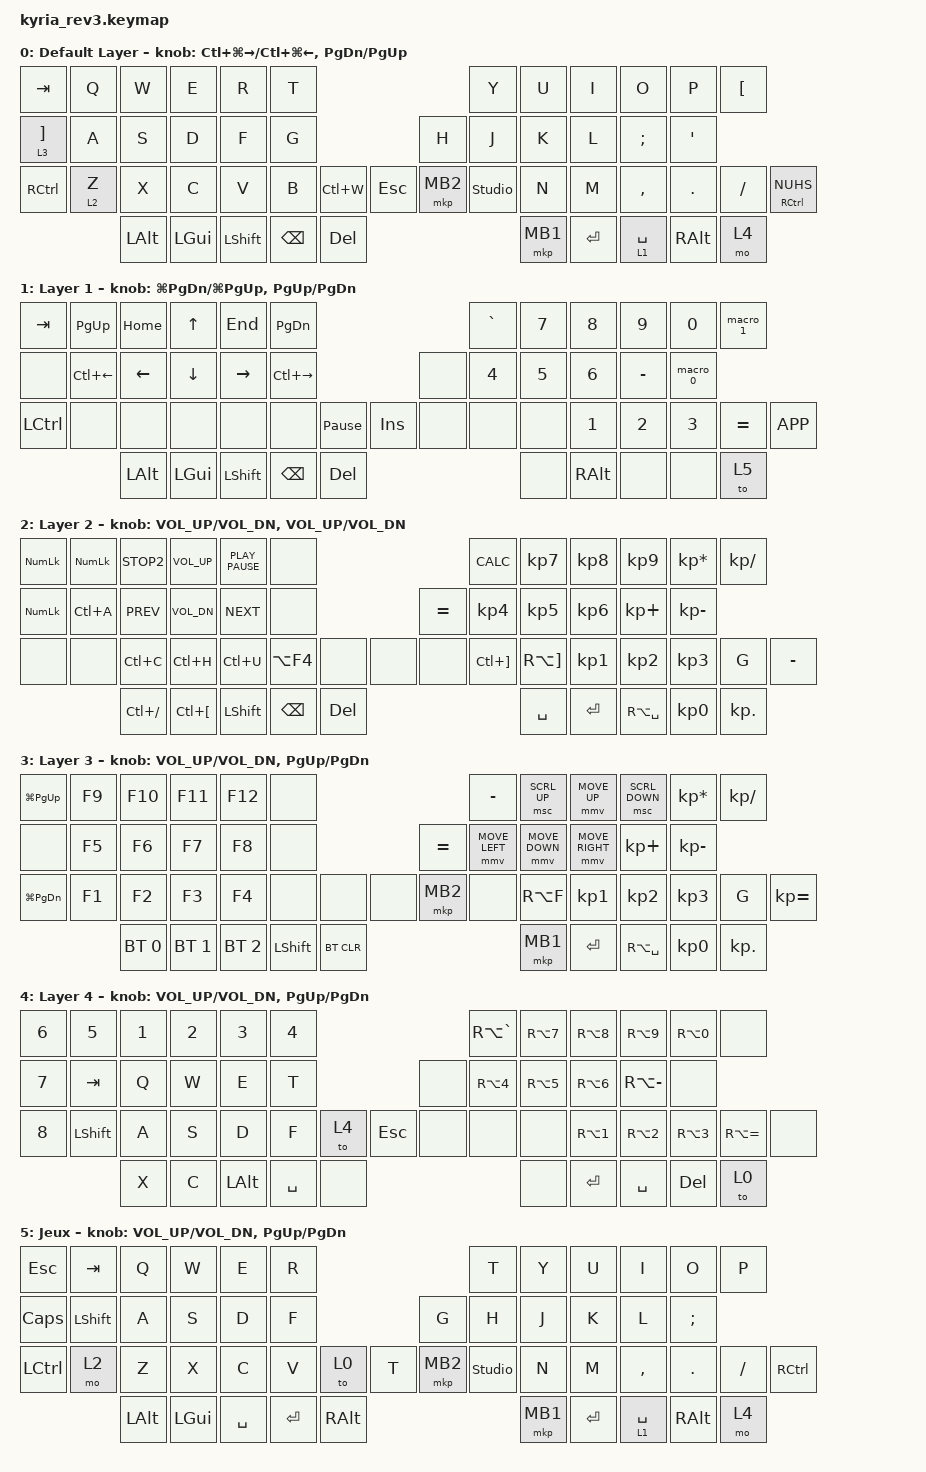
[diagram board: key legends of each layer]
/*
 * Copyright (c) 2020 The ZMK Contributors
 *
 * SPDX-License-Identifier: MIT
 */


#include <behaviors.dtsi>
#include <dt-bindings/zmk/bt.h>
#include <dt-bindings/zmk/keys.h>

#define ZMK_POINTING_DEFAULT_MOVE_VAL 1500  // default: 600
#define ZMK_POINTING_DEFAULT_SCRL_VAL 100
#include <dt-bindings/zmk/pointing.h>

/ {

    behaviors {

        macro_0: macro_0 {
            compatible = "zmk,behavior-macro";
            #binding-cells = <0>;
            bindings = <
                &kp SPACE
                &kp N2
                &kp N8
                &kp SPACE
            >;
        };

        macro_1: macro_1 {
            compatible = "zmk,behavior-macro";
            #binding-cells = <0>;
            bindings = <
                &kp SPACE
                &kp EQUAL
                &kp N3
                &kp EQUAL
                &kp SPACE
            >;
        };

        rot_kp: sensor_rotate_kp {
            compatible = "zmk,behavior-sensor-rotate-var";
            #sensor-binding-cells = <2>;
            bindings = <&kp>, <&kp>;
        };


        scroll_up: scroll_up {
            compatible = "zmk,behavior-macro";
            #binding-cells = <0>;
            bindings = <&macro_press &msc SCRL_UP>, <&macro_wait_time 100>, <&macro_release &msc SCRL_UP>;
        };

        scroll_down: scroll_down {
            compatible = "zmk,behavior-macro";
            #binding-cells = <0>;
            bindings = <&macro_press &msc SCRL_DOWN>, <&macro_wait_time 100>, <&macro_release &msc SCRL_DOWN>;
        };

        enc_scroll: enc_scroll {
            compatible = "zmk,behavior-sensor-rotate";
            #sensor-binding-cells = <0>;
            bindings = <&scroll_down>, <&scroll_up>;
        };

    };

    keymap {
        compatible = "zmk,keymap";

        default_layer {
            display-name = "Default Layer";

            bindings = <
                &kp TAB  &kp Q  &kp W  &kp E  &kp R  &kp T                                  &kp Y  &kp U  &kp I  &kp O  &kp P  &kp LBKT
                &lt 3 RBKT  &kp A  &kp S  &kp D  &kp F  &kp G                               &kp H  &kp J  &kp K  &kp L  &kp SEMI  &kp SQT
                &kp RCTRL  &lt 2 Z  &kp X  &kp C  &kp V  &kp B  &kp LC(W)  &kp ESC       &mkp MB2  &studio_unlock  &kp N  &kp M  &kp COMMA  &kp DOT  &kp SLASH  &mt RCTRL NUHS
                &kp LALT  &kp LGUI  &kp LSHIFT  &kp BSPC  &kp DEL                           &mkp MB1   &kp RET  &lt 1 SPACE  &kp RALT  &mo 4
            >;

            sensor-bindings = <&inc_dec_kp LC(LG(RIGHT)) LC(LG(LEFT)) &inc_dec_kp PG_DN PG_UP>;
        };

        layer_1 {
            display-name = "Layer 1";
            bindings = <
                &kp TAB  &kp PG_UP  &kp HOME  &kp UP  &kp END  &kp PG_DN                &kp GRAVE  &kp N7  &kp N8  &kp N9  &kp N0  &macro_1
                &none  &kp LC(LEFT)  &kp LEFT  &kp DOWN  &kp RIGHT  &kp LC(RIGHT)       &none  &kp N4  &kp N5  &kp N6  &kp MINUS  &macro_0
                &kp LCTRL  &none  &none  &none  &none  &none  &kp PAUSE_BREAK                 &kp INS  &none  &none &none  &kp N1  &kp N2  &kp N3  &kp EQUAL  &kp K_APP
            &kp LALT  &kp LGUI  &kp LSHIFT  &kp BSPC  &kp DEL                       &none  &kp RALT  &none  &none  &to 5
            >;

            sensor-bindings = <&inc_dec_kp LG(PG_DN) LG(PG_UP) &inc_dec_kp PG_UP PG_DN>;
        };
        layer_2 {
            display-name = "Layer 2";
            bindings = <
                &kp KP_NUM  &kp KP_NUM  &kp K_STOP2  &kp K_VOL_UP  &kp K_PLAY_PAUSE  &none          &kp K_CALC  &kp KP_N7  &kp KP_N8  &kp KP_N9  &kp KP_MULTIPLY  &kp KP_SLASH
                &kp KP_NUM  &kp LC(A) &kp K_PREV &kp K_VOL_DN  &kp K_NEXT &none      &kp EQUAL &kp KP_N4  &kp KP_N5  &kp KP_N6  &kp KP_PLUS  &kp KP_MINUS
                &none  &none &kp LC(C)  &kp LC(H)  &kp LC(U)  &kp LA(F4)  &none  &none                   &none  &kp LC(RBKT)  &kp RA(RBKT)  &kp KP_N1  &kp KP_N2  &kp KP_N3  &kp G  &kp MINUS
                &kp LC(SLASH)  &kp LC(LBKT)  &kp LSHIFT  &kp BSPC  &kp DEL                                  &kp SPACE   &kp RET  &kp RA(SPACE)  &kp KP_N0  &kp KP_DOT
            >;

            sensor-bindings = <&inc_dec_kp C_VOL_UP C_VOL_DN &inc_dec_kp C_VOL_UP C_VOL_DN>;
        };
        layer_3 {
            display-name = "Layer 3";
            bindings = <
                &kp LG(PG_UP)  &kp F9  &kp F10  &kp F11  &kp F12  &none                 &kp MINUS  &msc SCRL_UP &mmv MOVE_UP &msc SCRL_DOWN  &kp KP_MULTIPLY  &kp KP_SLASH
                &none  &kp F5   &kp F6  &kp F7  &kp F8 &none                            &kp EQUAL  &mmv MOVE_LEFT &mmv MOVE_DOWN &mmv MOVE_RIGHT &kp KP_PLUS  &kp KP_MINUS
                &kp LG(PG_DN)  &kp F1  &kp F2  &kp F3  &kp F4 &none  &none  &none       &mkp MB2 &none  &kp RA(F)  &kp KP_N1  &kp KP_N2  &kp KP_N3  &kp G  &kp KP_EQUAL
                &bt BT_SEL 0  &bt BT_SEL 1 &bt BT_SEL 2 &kp LSHIFT  &bt BT_CLR                                  &mkp MB1  &kp RET  &kp RA(SPACE)  &kp KP_N0  &kp KP_DOT
            >;

            sensor-bindings = <&inc_dec_kp C_VOL_UP C_VOL_DN &inc_dec_kp PG_UP PG_DN>;
        };
        layer_4 {
            display-name = "Layer 4";
            bindings = <
                &kp N6      &kp N5      &kp N1   &kp N2      &kp N3   &kp N4                       &kp RA(GRAVE)  &kp RA(N7)  &kp RA(N8)  &kp RA(N9)  &kp RA(N0)   &none
                &kp N7      &kp TAB     &kp Q    &kp W       &kp E    &kp T                          &none  &kp RA(N4)  &kp RA(N5)  &kp RA(N6)  &kp RA(MINUS) &none
                &kp N8      &kp LSHIFT  &kp A    &kp S       &kp D    &kp F   &to 4  &kp ESC               &none  &none  &none  &kp RA(N1)  &kp RA(N2)  &kp RA(N3)  &kp RA(EQUAL)   &none
                                        &kp X       &kp C  &kp LALT  &kp SPACE   &none                                  &none  &kp RET  &kp SPACE  &kp DEL  &to 0
            >;

            sensor-bindings = <&inc_dec_kp C_VOL_UP C_VOL_DN &inc_dec_kp PG_UP PG_DN>;
        };
        layer_5 {
            display-name = "Jeux";

            bindings = <
                &kp ESC   &kp TAB    &kp Q      &kp W    &kp E      &kp R                                                 &kp T  &kp Y  &kp U      &kp I    &kp O      &kp P 
                &kp CAPS  &kp LSHIFT &kp A      &kp S    &kp D      &kp F                                                 &kp G  &kp H  &kp J      &kp K    &kp L      &kp SEMI 
                &kp LCTRL &mo 2      &kp Z      &kp X    &kp C      &kp V   &to 0   &kp T         &mkp MB2  &studio_unlock  &kp N  &kp M  &kp COMMA  &kp DOT  &kp SLASH  &kp RCTRL
                                     &kp LALT  &kp LGUI  &kp SPACE  &kp RET  &kp RALT          &mkp MB1  &kp RET  &lt 1 SPACE  &kp RALT  &mo 4
            >;

            sensor-bindings = <&inc_dec_kp C_VOL_UP C_VOL_DN &inc_dec_kp PG_UP PG_DN>;
        }; 
    };
};
